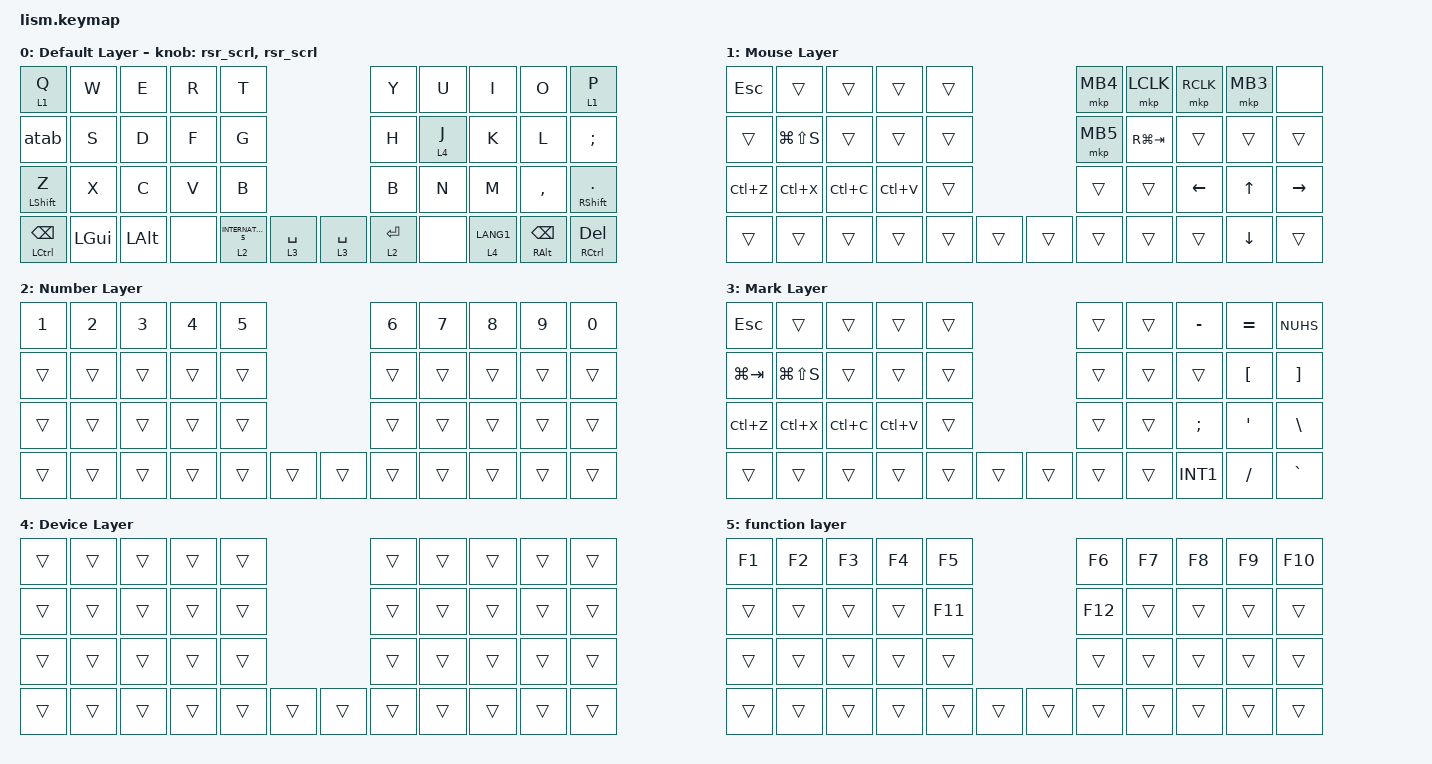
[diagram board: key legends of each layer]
#define ZMK_POINTING_DEFAULT_SCRL_VAL 200

#include <dt-bindings/zmk/mouse.h>
#include <behaviors/runtime-sensor-rotate.dtsi>
#include <behaviors.dtsi>
#include <dt-bindings/zmk/bt.h>
#include <dt-bindings/zmk/keys.h>
#include <dt-bindings/zmk/outputs.h>
#include <dt-bindings/zmk/pointing.h>

&mt {
    tapping-term-ms = <400>;
    flavor = "hold-preferred";
    require-prior-idle-ms = <100>;
    quick-tap-ms = <100>;
    hold-while-undecided;
    hold-while-undecided-linger;
    retro-tap;
    hold-trigger-key-positions = <30 31 32 33 34 35 36 37 38 39 40 41>;
};

&lt {
    quick-tap-ms = <100>;
    require-prior-idle-ms = <100>;
    flavor = "hold-preferred";
    tapping-term-ms = <400>;
    hold-while-undecided;
    hold-while-undecided-linger;
    retro-tap;
    hold-trigger-key-positions = <30 31 32 33 34 35 36 37 38 39 40 41>;
};

/ {
    macros {
        emoji: emoji_macro {
            compatible = "zmk,behavior-macro";
            label = "EMOJI";
            #binding-cells = <0>;
            bindings =
                <&macro_press>,
                <&kp CAPSLOCK>,
                <&macro_tap>,
                <&kp E>,
                <&macro_release>,
                <&kp CAPSLOCK>;
        };
    };

    behaviors {
        encoder_kp: sensor_rotate_kp {
            compatible = "zmk,behavior-sensor-rotate-var";
            #sensor-binding-cells = <2>;
            bindings = <&kp>, <&kp>;
        };

        rsr_scrl: rsr_scrl {
            compatible = "zmk,behavior-runtime-sensor-rotate";
            #sensor-binding-cells = <0>;
            tap-ms = <20>;
            cw-binding = <&msc SCRL_DOWN>;
            ccw-binding = <&msc SCRL_UP>;
        };

        mt_l: mt_l {
            compatible = "zmk,behavior-hold-tap";
            label = "MT_L";
            bindings = <&kp>, <&kp>;

            #binding-cells = <2>;
            tapping-term-ms = <400>;
            quick-tap-ms = <100>;
            require-prior-idle-ms = <100>;
            hold-while-undecided;
            hold-while-undecided-linger;
            retro-tap;
            hold-trigger-key-positions = <5 6 7 8 9 15 16 17 18 19 25 26 27 28 29 36 37 38 39 40 41>;
        };

        mt_r: mt_r {
            compatible = "zmk,behavior-hold-tap";
            label = "MT_R";
            bindings = <&kp>, <&kp>;

            #binding-cells = <2>;
            tapping-term-ms = <400>;
            quick-tap-ms = <100>;
            require-prior-idle-ms = <100>;
            hold-while-undecided;
            hold-while-undecided-linger;
            retro-tap;
            hold-trigger-key-positions = <0 1 2 3 4 10 11 12 13 14 20 21 22 23 24 30 31 32 33 34 35>;
        };

        lt_l: lt_l {
            compatible = "zmk,behavior-hold-tap";
            label = "LT_L";
            bindings = <&mo>, <&kp>;

            #binding-cells = <2>;
            tapping-term-ms = <400>;
            quick-tap-ms = <100>;
            require-prior-idle-ms = <100>;
            hold-while-undecided;
            hold-while-undecided-linger;
            retro-tap;
            hold-trigger-key-positions = <5 6 7 8 9 15 16 17 18 19 25 26 27 28 29 36 37 38 39 40 41>;
        };

        lt_r: lt_r {
            compatible = "zmk,behavior-hold-tap";
            label = "LT_R";
            bindings = <&mo>, <&kp>;

            #binding-cells = <2>;
            tapping-term-ms = <400>;
            quick-tap-ms = <100>;
            require-prior-idle-ms = <100>;
            hold-while-undecided;
            hold-while-undecided-linger;
            retro-tap;
            hold-trigger-key-positions = <0 1 2 3 4 10 11 12 13 14 20 21 22 23 24 30 31 32 33 34 35>;
        };

        atab: atab {
            compatible = "zmk,behavior-mod-morph";
            label = "ATAB";
            bindings = <&kp A>, <&kp TAB>;

            #binding-cells = <0>;
            mods = <(MOD_LALT|MOD_RALT|MOD_LGUI|MOD_RGUI)>;
            keep-mods = <(MOD_LALT|MOD_RALT|MOD_LGUI|MOD_RGUI)>;
        };
    };

    combos {
        compatible = "zmk,combos";

        goto_settings {
            bindings = <&to 5>;
            key-positions = <0 10 20>;
            timeout-ms = <20>;
        };

        goto_settings2 {
            bindings = <&to 5>;
            key-positions = <9 19 29>;
        };
    };

    keymap {
        compatible = "zmk,keymap";

        default_layer {
            display-name = "Default Layer";
            bindings = <
&lt_l 1 Q              &kp W     &kp E         &kp R  &kp T                                                    &kp Y          &kp U      &kp I          &kp O                      &lt_r 1 P
&atab                  &kp S     &kp D         &kp F  &kp G                                                    &kp H          &lt_r 4 J  &kp K          &kp L                      &kp SEMICOLON
&mt_l LEFT_SHIFT Z     &kp X     &kp C         &kp V  &kp B                                                    &kp B          &kp N      &kp M          &kp COMMA                  &mt_r RIGHT_SHIFT DOT
&mt_l LCTRL BACKSPACE  &kp LGUI  &kp LEFT_ALT  &none  &lt_l 2 INTERNATIONAL_5  &lt_l 3 SPACE    &lt_r 3 SPACE  &lt_r 2 ENTER  &none      &lt_r 4 LANG1  &mt_r RIGHT_ALT BACKSPACE  &mt_r RCTRL DELETE
            >;

            sensor-bindings = <&rsr_scrl &rsr_scrl>;
        };

        Mouse_Layer {
            display-name = "Mouse Layer";
            bindings = <
&kp ESC    &trans         &trans     &trans     &trans                    &mkp MB4  &mkp LCLK    &mkp RCLK  &mkp MB3  &none
&trans     &kp LG(LS(S))  &trans     &trans     &trans                    &mkp MB5  &kp RG(TAB)  &trans     &trans    &trans
&kp LC(Z)  &kp LC(X)      &kp LC(C)  &kp LC(V)  &trans                    &trans    &trans       &kp LEFT   &kp UP    &kp RIGHT
&trans     &trans         &trans     &trans     &trans  &trans    &trans  &trans    &trans       &trans     &kp DOWN  &trans
            >;
        };

        Number_Layer {
            display-name = "Number Layer";
            bindings = <
&kp N1  &kp N2  &kp N3  &kp N4  &kp N5                    &kp N6  &kp N7  &kp N8  &kp N9  &kp N0
&trans  &trans  &trans  &trans  &trans                    &trans  &trans  &trans  &trans  &trans
&trans  &trans  &trans  &trans  &trans                    &trans  &trans  &trans  &trans  &trans
&trans  &trans  &trans  &trans  &trans  &trans    &trans  &trans  &trans  &trans  &trans  &trans
            >;
        };

        Mark_Layer {
            display-name = "Mark Layer";
            bindings = <
&kp ESC      &trans         &trans     &trans     &trans                    &trans  &trans  &kp MINUS      &kp EQUAL  &kp NUHS
&kp LG(TAB)  &kp LG(LS(S))  &trans     &trans     &trans                    &trans  &trans  &trans         &kp LBKT   &kp RBKT
&kp LC(Z)    &kp LC(X)      &kp LC(C)  &kp LC(V)  &trans                    &trans  &trans  &kp SEMICOLON  &kp SQT    &kp BACKSLASH
&trans       &trans         &trans     &trans     &trans  &trans    &trans  &trans  &trans  &kp INT1       &kp SLASH  &kp GRAVE
            >;
        };

        Device_Layer {
            display-name = "Device Layer";
            bindings = <
&trans  &trans  &trans  &trans  &trans                    &trans  &trans  &trans  &trans  &trans
&trans  &trans  &trans  &trans  &trans                    &trans  &trans  &trans  &trans  &trans
&trans  &trans  &trans  &trans  &trans                    &trans  &trans  &trans  &trans  &trans
&trans  &trans  &trans  &trans  &trans  &trans    &trans  &trans  &trans  &trans  &trans  &trans
            >;
        };

        SETTINGS {
            status = "reserved";
            display-name = "SETTINGS";
            bindings = <
&trans       &trans          &trans  &trans  &bt BT_CLR                                    &bt BT_SEL 0  &bt BT_SEL 1  &bt BT_SEL 2  &bt BT_SEL 3  &bt BT_SEL 4
&trans       &trans          &trans  &trans  &trans                                        &out OUT_TOG  &trans        &trans        &trans        &trans
&sys_reset   &trans          &trans  &trans  &trans                                        &trans        &trans        &trans        &trans        &sys_reset
&bootloader  &bt BT_CLR_ALL  &trans  &trans  &to 0       &studio_unlock    &studio_unlock  &to 0         &trans        &trans        &trans        &bootloader
            >;
        };

        Function_Layer {
            bindings = <
&kp F1  &kp F2  &kp F3  &kp F4  &kp F5                     &kp F6   &kp F7  &kp F8  &kp F9  &kp F10
&trans  &trans  &trans  &trans  &kp F11                    &kp F12  &trans  &trans  &trans  &trans
&trans  &trans  &trans  &trans  &trans                     &trans   &trans  &trans  &trans  &trans
&trans  &trans  &trans  &trans  &trans   &trans    &trans  &trans   &trans  &trans  &trans  &trans
            >;

            label = "function layer";
        };
    };

    conditional_layers {
        compatible = "zmk,conditional-layers";

        function {
            if-layers = <2 3>;
            then-layer = <6>;
        };
    };
};
